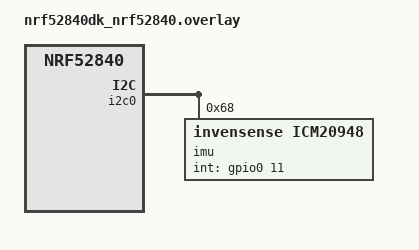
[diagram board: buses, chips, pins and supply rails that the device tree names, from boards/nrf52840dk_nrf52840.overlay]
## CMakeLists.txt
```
# Copyright (c) 2026 Brandon Edmonds
# SPDX-License-Identifier: Apache-2.0

cmake_minimum_required(VERSION 3.20.0)

find_package(Zephyr REQUIRED HINTS $ENV{ZEPHYR_BASE})
project(icm20948_test)

target_sources(app PRIVATE src/main.c)
```

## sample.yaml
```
# Copyright (c) 2026 Brandon Edmonds
# SPDX-License-Identifier: Apache-2.0

sample:
  name: 9DOF Motion dataready sample
tests:
  sample.sensor.9dof_motion_drdy:
    build_only: true
    platform_allow: nrf52840dk/nrf52840
    tags: sensors
    integration_platforms:
      - nrf52840dk/nrf52840
```

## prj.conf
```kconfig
# Copyright (c) 2026 Brandon Edmonds
# SPDX-License-Identifier: Apache-2.0

CONFIG_SENSOR=y
CONFIG_ICM20948_TRIGGER_NONE=y
CONFIG_CBPRINTF_FP_SUPPORT=y
```

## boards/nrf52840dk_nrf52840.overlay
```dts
/*
 * Copyright (c) 2026 Brandon Edmonds
 * SPDX-License-Identifier: Apache-2.0
 */

#include <zephyr/dt-bindings/sensor/icm20948.h>

/* I2C0: SCL=P0.27, SDA=P0.26 (Arduino header) */
&i2c0 {
	imu: icm20948@68 {
		compatible = "invensense,icm20948";
		status = "okay";
		reg = <0x68>;
		int-gpios = <&gpio0 11 GPIO_ACTIVE_HIGH>;
		mag-mode = <ICM20948_DT_MAG_MODE_100HZ>; /* 100Hz magnetometer */
	};
};
```

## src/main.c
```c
/*
 * Copyright (c) 2026 Brandon Edmonds
 * SPDX-License-Identifier: Apache-2.0
 */

#include <zephyr/kernel.h>
#include <zephyr/device.h>
#include <zephyr/drivers/sensor.h>
#include <stdio.h>

static const char *now_str(void)
{
	static char buf[16]; /* ...HH:MM:SS.MMM */
	uint32_t now = k_uptime_get_32();
	unsigned int ms = now % MSEC_PER_SEC;
	unsigned int s;
	unsigned int min;
	unsigned int h;

	now /= MSEC_PER_SEC;
	s = now % 60U;
	now /= 60U;
	min = now % 60U;
	now /= 60U;
	h = now;

	snprintf(buf, sizeof(buf), "%u:%02u:%02u.%03u", h, min, s, ms);
	return buf;
}

static int process_icm20948(const struct device *dev)
{
	struct sensor_value temperature;
	struct sensor_value accel[3];
	struct sensor_value gyro[3];
	struct sensor_value magn[3];
	int rc = sensor_sample_fetch(dev);

	if (rc == 0) {
		rc = sensor_channel_get(dev, SENSOR_CHAN_ACCEL_XYZ, accel);
	}
	if (rc == 0) {
		rc = sensor_channel_get(dev, SENSOR_CHAN_GYRO_XYZ, gyro);
	}
	if (rc == 0) {
		rc = sensor_channel_get(dev, SENSOR_CHAN_DIE_TEMP, &temperature);
	}
	if (rc == 0) {
		printf("[%s]: %g Cel\n"
		       "  accel %f %f %f m/s/s\n"
		       "  gyro  %f %f %f rad/s\n",
		       now_str(), sensor_value_to_double(&temperature),
		       sensor_value_to_double(&accel[0]), sensor_value_to_double(&accel[1]),
		       sensor_value_to_double(&accel[2]), sensor_value_to_double(&gyro[0]),
		       sensor_value_to_double(&gyro[1]), sensor_value_to_double(&gyro[2]));
	}

	/* Magnetometer may return -ENOTSUP if disabled */
	int magn_rc = sensor_channel_get(dev, SENSOR_CHAN_MAGN_XYZ, magn);

	if (magn_rc == 0) {
		printf("  magn  %f %f %f uT\n", sensor_value_to_double(&magn[0]),
		       sensor_value_to_double(&magn[1]), sensor_value_to_double(&magn[2]));
	} else if (magn_rc == -EOVERFLOW) {
		printf("  magn  <overflow>\n");
	} else {
		printf("  magn  <error: %d>\n", magn_rc);
	}

	if (rc != 0) {
		printf("sample fetch/get failed: %d\n", rc);
	}

	return rc;
}

#ifdef CONFIG_ICM20948_TRIGGER
static struct sensor_trigger trigger;

static void handle_icm20948_drdy(const struct device *dev, const struct sensor_trigger *trig)
{
	int rc = process_icm20948(dev);

	if (rc != 0) {
		printf("cancelling trigger due to failure: %d\n", rc);
		(void)sensor_trigger_set(dev, trig, NULL);
		return;
	}
}
#endif /* CONFIG_ICM20948_TRIGGER */

int main(void)
{
	const struct device *const icm20948 = DEVICE_DT_GET_ONE(invensense_icm20948);

	if (!device_is_ready(icm20948)) {
		printf("Device %s is not ready\n", icm20948->name);
		return 0;
	}

	printf("Found ICM-20948 device %s\n", icm20948->name);

#ifdef CONFIG_ICM20948_TRIGGER
	trigger = (struct sensor_trigger){
		.type = SENSOR_TRIG_DATA_READY,
		.chan = SENSOR_CHAN_ALL,
	};
	if (sensor_trigger_set(icm20948, &trigger, handle_icm20948_drdy) < 0) {
		printf("Cannot configure trigger\n");
		return 0;
	}
	printf("Configured for triggered sampling.\n");
#endif

	while (!IS_ENABLED(CONFIG_ICM20948_TRIGGER)) {
		int rc = process_icm20948(icm20948);

		if (rc != 0) {
			break;
		}
		k_sleep(K_SECONDS(2));
	}

	/* triggered runs with its own thread after exit */
	return 0;
}
```
